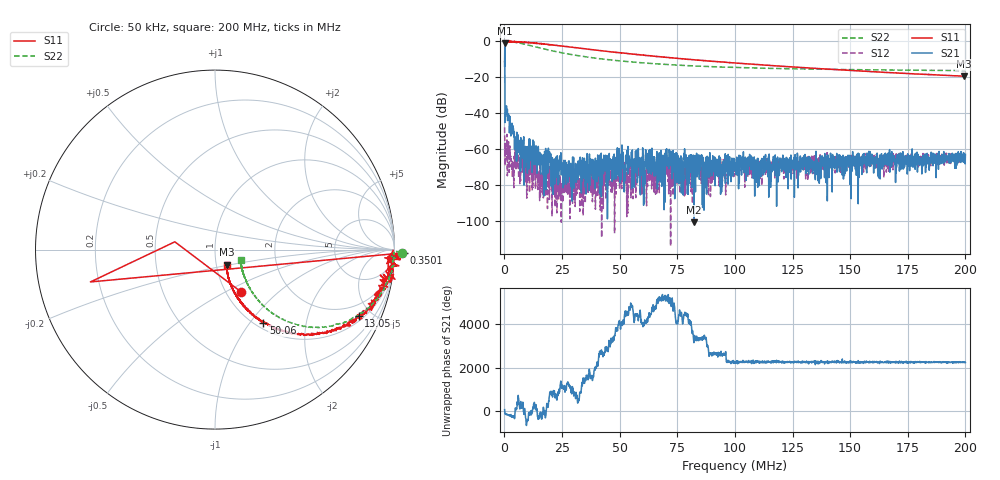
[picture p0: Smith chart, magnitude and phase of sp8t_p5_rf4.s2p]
! 26-Feb-26 12:20:16 PM
! E:\VNA_MEASUREMENTS\SP8T\SP8T_P5_RF4.S2P
! CHANNEL.1
! TR.MEASUREMENT
! CORRECTED.DATA
# GHZ S RI R 50.0
! FREQ.GHZ  S11RE  S11IM  S21RE  S21IM  S12RE  S12IM  S22RE  S22IM
!; PortSelection: Port_12
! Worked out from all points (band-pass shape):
!   2000 points, 50 kHz to 200 MHz, reference 50 ohm
!   highest |S21| = -0.97 dB at 150 kHz (marker M1); lowest = -100.7 dB at 82.17 MHz (marker M2)
!   |S21| within 3 dB of the highest: 126.6 kHz to 156.8 kHz (30.25 kHz wide, 21.3 % of centre)
!   lowest |S11| = -19.4 dB at 199.4 MHz (marker M3), VSWR 1.24, Z = 56.2 - j9.63 ohm
!   |S11| at or under -10 dB: start of sweep to 178.6 kHz; 79.75117 MHz to 79.88615 MHz (135 kHz wide, 0.169 % of centre); 80.1 MHz to end of sweep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
!   |S22| runs from -16.3 to 0.3 dB; largest |S21 - S12| = 0.89
!   S11 on the Smith chart (normalised r, x): 50 kHz: 1.17, -0.59; 350.1 kHz: -34, -11; 13.05 MHz: 1.24, -4.19; 50.06 MHz: 1.09, -1.17; 200 MHz: 1.12, -0.19
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5e-05  0.1432 -0.2341  0.0799 0.1888  0.00017 0.00408  1.039 -0.0169
0.000150025  -0.2236 0.0434  0.507 -0.7368  -0.000752 -0.000592  1 -0.00721
0.000350075  1.054 -0.0179  -0.00476 -0.00776  -0.00144 2.73e-05  0.9994 -0.0283
0.0012503  0.9459 -0.0455  -0.011 -0.00665  -7.4e-06 0.000182  0.997 -0.0819
0.00305075  0.9701 -0.1203  0.000554 0.00359  -6.22e-05 0.000394  0.9555 -0.187
0.005351326  0.9205 -0.142  -0.000353 0.00295  -0.000227 0.000175  0.8779 -0.3011
0.01305325  0.8015 -0.3708  0.000463 -0.000657  0.000428 -0.000204  0.5729 -0.4327
0.01915478  0.6883 -0.4343  -0.000183 0.000468  1.68e-05 0.000157  0.4125 -0.4029
0.02115528  0.6495 -0.4579  4.04e-05 0.000156  -0.000142 2.94e-05  0.3768 -0.3878
0.02345585  0.6024 -0.463  -0.000104 4.52e-05  -9.93e-05 6.8e-05  0.3417 -0.37
0.03345835  0.4376 -0.467  -9.89e-05 0.000472  -0.000105 -5.23e-05  0.2522 -0.2954
0.05006251  0.2694 -0.4077  3.47e-05 0.000111  0.000129 6.47e-05  0.1921 -0.2131
0.06676668  0.1774 -0.3334  -0.000675 5.36e-05  -0.000282 0.000281  0.1688 -0.1649
0.07096773  0.1637 -0.3193  -0.000429 0.000187  -3.56e-05 0.00012  0.1654 -0.1556
0.08217054  0.1334 -0.2765  1e-07 -9.2e-06  -0.000248 0.00032  0.1591 -0.1355
0.08467116  0.1264 -0.2694  -0.000392 0.000551  -0.000168 0.000107  0.1569 -0.1314
0.08677169  0.1242 -0.2646  -9.67e-05 -0.00023  -6.15e-05 0.000213  0.1564 -0.1289
0.100075  0.102 -0.2302  -0.000132 0.000367  -0.00019 0.000156  0.1514 -0.1128
0.1333833  0.0768 -0.163  0.0002 0.000431  9.09e-05 0.000432  0.1459 -0.0863
0.1666917  0.0673 -0.1183  0.000163 0.000379  -9e-05 0.000571  0.1433 -0.0711
0.1993998  0.0657 -0.0847  1.92e-05 0.000754  0.000124 0.000719  0.1422 -0.0604
0.2  0.0664 -0.0844  0.000156 0.000699  0.000226 0.000528  0.1422 -0.0597
